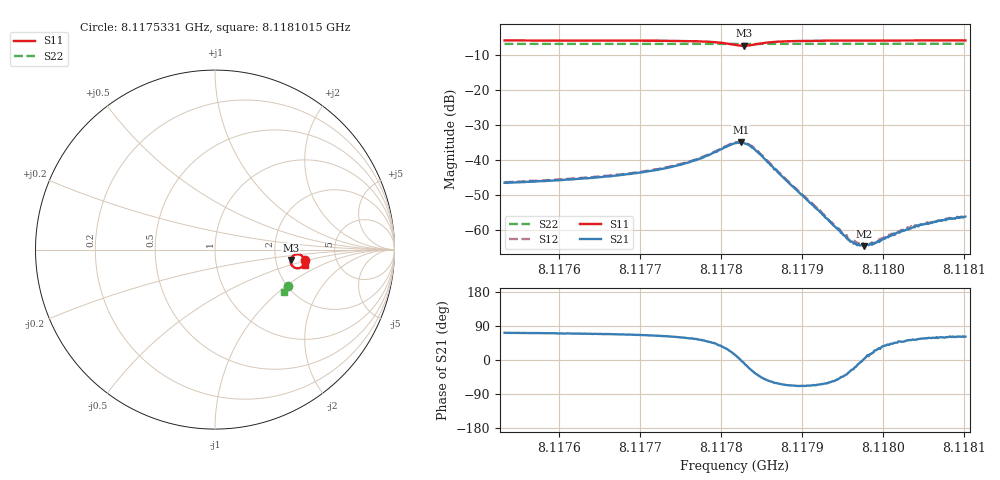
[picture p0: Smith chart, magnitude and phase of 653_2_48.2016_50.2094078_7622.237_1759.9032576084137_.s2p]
#  HZ  S  RI  R  50.00
! Rohde & Schwarz Vector Network Analyzer
! Rohde-Schwarz,ZNB20-2Port,1311601062101988,3.16
! Created: UTC 3/20/2024, 12:05:18 PM
! freq[Hz]  re:S11  im:S11  re:S21  im:S21  re:S12  im:S12  re:S22  im:S22
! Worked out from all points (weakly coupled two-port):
!   401 points, 8.1175331 GHz to 8.1181015 GHz, reference 50 ohm
!   highest |S21| = -35.01 dB at 8.1178244 GHz (marker M1); lowest = -64.6 dB at 8.1179765 GHz (marker M2)
!   lowest |S11| = -7.4 dB at 8.1178287 GHz (marker M3), VSWR 2.48, Z = 121 - j16.9 ohm
!   |S11| at or under -10 dB: nowhere
!   |S22| runs from -6.9 to -6.9 dB; largest |S21 - S12| = 0.00056
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8.11753308e9  0.5036 -0.0575  0.00147 0.00449  0.00153 0.00455  0.4044 -0.2035
8.11762829e9  0.5013 -0.0678  0.00191 0.00508  0.00195 0.0052  0.4016 -0.2095
8.11767661e9  0.4993 -0.0744  0.00233 0.00564  0.0024 0.00575  0.4001 -0.2128
8.1177235e9  0.4955 -0.0829  0.00321 0.00655  0.00331 0.00665  0.3984 -0.216
8.11776756e9  0.4852 -0.0953  0.0056 0.00825  0.00571 0.00825  0.3965 -0.2189
8.11780024e9  0.4577 -0.1041  0.0114 0.00857  0.0117 0.00879  0.3943 -0.221
8.1178173e9  0.4286 -0.0883  0.0169 0.00408  0.0172 0.00425  0.3928 -0.2208
8.1178244e9  0.4213 -0.0701  0.0178 -6.27e-05  0.0182 5.65e-05  0.3924 -0.2206
8.11782866e9  0.4218 -0.0572  0.0172 -0.00262  0.0176 -0.00282  0.3924 -0.2201
8.11784287e9  0.4462 -0.0285  0.011 -0.00812  0.0115 -0.00837  0.3935 -0.2202
8.11786845e9  0.4841 -0.0339  0.00345 -0.00618  0.00342 -0.00631  0.3942 -0.2221
8.11791251e9  0.4982 -0.0541  0.000902 -0.00213  0.000877 -0.00222  0.3931 -0.2259
8.11795798e9  0.5004 -0.0654  0.00061 -0.000385  0.000576 -0.000436  0.3918 -0.229
8.11796935e9  0.5006 -0.0674  0.000618 -0.000115  0.000628 -0.000126  0.3914 -0.2298
8.11797646e9  0.5006 -0.0687  0.00059 2.89e-05  0.000588 3.79e-05  0.391 -0.2303
8.11798783e9  0.5006 -0.0703  0.000609 0.000211  0.000604 0.000223  0.3906 -0.231
8.11800772e9  0.5006 -0.0735  0.000633 0.00053  0.000639 0.00057  0.39 -0.2322
8.11801199e9  0.5005 -0.074  0.000636 0.000591  0.000622 0.000585  0.3899 -0.2327
8.11802478e9  0.5004 -0.0757  0.000657 0.000739  0.000672 0.000744  0.3893 -0.2334
8.11804893e9  0.5002 -0.0785  0.000668 0.00101  0.000677 0.00102  0.3886 -0.235
8.1180802e9  0.4998 -0.0821  0.000707 0.00125  0.000691 0.00127  0.3875 -0.237
8.11810152e9  0.4997 -0.0843  0.000741 0.00137  0.000749 0.0014  0.3868 -0.2382
